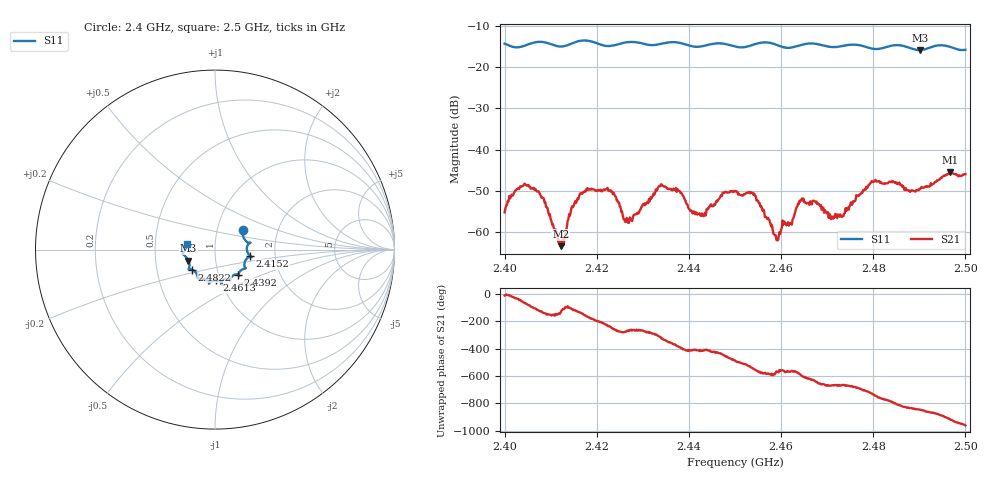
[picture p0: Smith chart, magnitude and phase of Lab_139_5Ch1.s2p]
# Hz S RI R 50
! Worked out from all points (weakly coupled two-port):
!   601 points, 2.4 GHz to 2.5 GHz, reference 50 ohm
!   highest |S21| = -45.46 dB at 2.4967 GHz (marker M1); lowest = -63.4 dB at 2.4122 GHz (marker M2)
!   lowest |S11| = -15.9 dB at 2.4902 GHz (marker M3), VSWR 1.38, Z = 36.9 - j4.63 ohm
!   |S11| at or under -10 dB: start of sweep to end of sweep
!   S12 and S22 are empty: the file has one direction only
!   S11 on the Smith chart (normalised r, x): 2.4 GHz: 1.33, +0.31; 2.4152 GHz: 1.48, -0.11; 2.4392 GHz: 1.23, -0.36; 2.4613 GHz: 0.96, -0.34; 2.4822 GHz: 0.76, -0.17; 2.5 GHz: 0.72, +0.05
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2.4e9  0.1564 0.1115  0.00168 -0.00042  0 0  0 0
2.403833e9  0.1705 0.0499  0.00193 -0.00302  0 0  0 0
2.406833e9  0.1966 0.0373  -0.00116 -0.00295  0 0  0 0
2.412167e9  0.1769 0.00408  -0.000481 -0.000472  0 0  0 0
2.415167e9  0.1951 -0.0357  -0.00114 -0.00191  0 0  0 0
2.416667e9  0.2047 -0.0419  -0.00232 -0.00181  0 0  0 0
2.422833e9  0.1654 -0.0706  -0.00158 0.00276  0 0  0 0
2.4265e9  0.1706 -0.103  0.000131 0.00147  0 0  0 0
2.433333e9  0.1331 -0.1324  0.00217 0.00274  0 0  0 0
2.439167e9  0.127 -0.1387  0.00157 -0.00187  0 0  0 0
2.443167e9  0.0893 -0.1562  0.000963 -0.00122  0 0  0 0
2.45e9  0.0687 -0.1636  -0.0019 -0.00251  0 0  0 0
2.454e9  0.0351 -0.1833  -0.00281 0.000399  0 0  0 0
2.458833e9  0.0354 -0.1838  -0.000741 0.000536  0 0  0 0
2.461333e9  0.0079 -0.1706  -0.00114 0.000518  0 0  0 0
2.466667e9  -0.0332 -0.1901  -0.000151 0.00215  0 0  0 0
2.473e9  -0.0769 -0.1607  0.00099 0.00119  0 0  0 0
2.482167e9  -0.1283 -0.112  0.00262 -0.00284  0 0  0 0
2.483333e9  -0.1395 -0.1103  0.00201 -0.00344  0 0  0 0
2.490167e9  -0.1481 -0.0612  -0.00193 -0.00271  0 0  0 0
2.496667e9  -0.1748 -0.0142  -0.00514 0.00141  0 0  0 0
2.5e9  -0.1585 0.0338  -0.00246 0.0044  0 0  0 0
